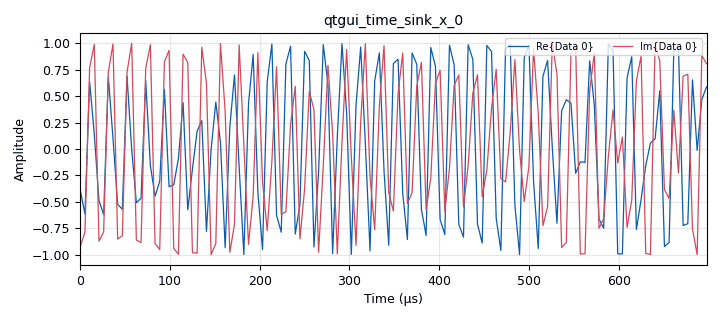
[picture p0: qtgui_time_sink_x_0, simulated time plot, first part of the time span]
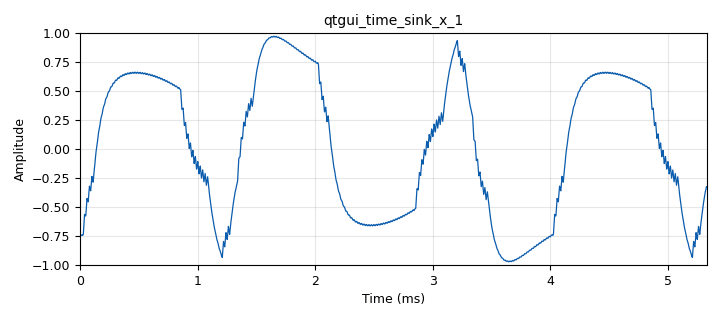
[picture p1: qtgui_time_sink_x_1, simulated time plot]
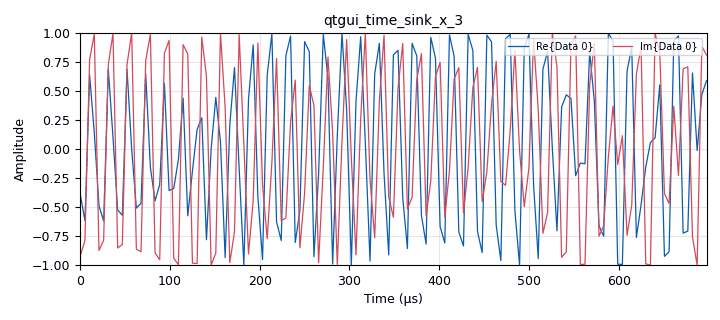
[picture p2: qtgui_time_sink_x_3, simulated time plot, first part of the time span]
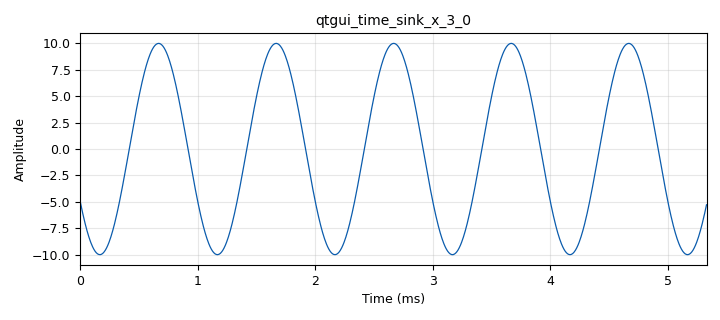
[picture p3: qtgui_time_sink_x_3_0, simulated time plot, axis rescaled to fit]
<?xml version='1.0' encoding='utf-8'?>
<?grc format='1' created='3.7.9'?>
<flow_graph>
<block>
<key>options</key>
<param><key>id</key><value>top_block</value></param>
<param><key>category</key><value>Custom</value></param>
<param><key>generate_options</key><value>qt_gui</value></param>
</block>
<block>
<key>variable</key>
<param><key>id</key><value>gain</value></param>
<param><key>value</key><value>50</value></param>
</block>
<block>
<key>variable</key>
<param><key>id</key><value>samp_rate</value></param>
<param><key>value</key><value>192000</value></param>
</block>
<block>
<key>analog_sig_source_x</key>
<param><key>id</key><value>analog_sig_source_x_1</value></param>
<param><key>amp</key><value>10</value></param>
<param><key>freq</key><value>1000</value></param>
<param><key>offset</key><value>0</value></param>
<param><key>type</key><value>float</value></param>
<param><key>samp_rate</key><value>samp_rate</value></param>
<param><key>waveform</key><value>analog.GR_COS_WAVE</value></param>
</block>
<block>
<key>analog_wfm_rcv</key>
<param><key>id</key><value>analog_wfm_rcv_0</value></param>
<param><key>audio_decimation</key><value>1</value></param>
<param><key>quad_rate</key><value>192000</value></param>
</block>
<block>
<key>analog_wfm_tx</key>
<param><key>id</key><value>analog_wfm_tx_0</value></param>
<param><key>audio_rate</key><value>48000</value></param>
<param><key>max_dev</key><value>5e3</value></param>
<param><key>quad_rate</key><value>192000</value></param>
<param><key>tau</key><value>75e-6</value></param>
</block>
<block>
<key>note</key>
<param><key>id</key><value>note_0</value></param>
<param><key>note</key><value>Wideband FM</value></param>
</block>
<block>
<key>qtgui_time_sink_x</key>
<param><key>id</key><value>qtgui_time_sink_x_0</value></param>
<param><key>autoscale</key><value>True</value></param>
<param><key>color1</key><value>"blue"</value></param>
<param><key>label1</key><value></value></param>
<param><key>color2</key><value>"red"</value></param>
<param><key>label2</key><value></value></param>
<param><key>size</key><value>1024</value></param>
<param><key>srate</key><value>samp_rate</value></param>
<param><key>type</key><value>complex</value></param>
</block>
<block>
<key>qtgui_time_sink_x</key>
<param><key>id</key><value>qtgui_time_sink_x_1</value></param>
<param><key>color1</key><value>"blue"</value></param>
<param><key>label1</key><value></value></param>
<param><key>size</key><value>1024</value></param>
<param><key>srate</key><value>samp_rate</value></param>
<param><key>type</key><value>float</value></param>
</block>
<block>
<key>qtgui_time_sink_x</key>
<param><key>id</key><value>qtgui_time_sink_x_3</value></param>
<param><key>color1</key><value>"blue"</value></param>
<param><key>label1</key><value></value></param>
<param><key>color2</key><value>"red"</value></param>
<param><key>label2</key><value></value></param>
<param><key>size</key><value>1024</value></param>
<param><key>srate</key><value>samp_rate</value></param>
<param><key>type</key><value>complex</value></param>
</block>
<block>
<key>qtgui_time_sink_x</key>
<param><key>id</key><value>qtgui_time_sink_x_3_0</value></param>
<param><key>color1</key><value>"blue"</value></param>
<param><key>label1</key><value></value></param>
<param><key>size</key><value>1024</value></param>
<param><key>srate</key><value>samp_rate</value></param>
<param><key>type</key><value>float</value></param>
</block>
<block>
<key>rational_resampler_xxx</key>
<param><key>id</key><value>rational_resampler_xxx_0_0</value></param>
<param><key>decim</key><value>1</value></param>
<param><key>interp</key><value>1</value></param>
<param><key>taps</key><value></value></param>
<param><key>type</key><value>fff</value></param>
</block>
<block>
<key>virtual_sink</key>
<param><key>id</key><value>virtual_sink_0</value></param>
<param><key>stream_id</key><value>1</value></param>
</block>
<block>
<key>virtual_source</key>
<param><key>id</key><value>virtual_source_0</value></param>
<param><key>stream_id</key><value>1</value></param>
</block>
<connection><source_block_id>analog_sig_source_x_1</source_block_id><sink_block_id>analog_wfm_tx_0</sink_block_id><source_key>0</source_key><sink_key>0</sink_key></connection>
<connection><source_block_id>analog_sig_source_x_1</source_block_id><sink_block_id>qtgui_time_sink_x_3_0</sink_block_id><source_key>0</source_key><sink_key>0</sink_key></connection>
<connection><source_block_id>analog_wfm_rcv_0</source_block_id><sink_block_id>rational_resampler_xxx_0_0</sink_block_id><source_key>0</source_key><sink_key>0</sink_key></connection>
<connection><source_block_id>analog_wfm_tx_0</source_block_id><sink_block_id>qtgui_time_sink_x_3</sink_block_id><source_key>0</source_key><sink_key>0</sink_key></connection>
<connection><source_block_id>analog_wfm_tx_0</source_block_id><sink_block_id>virtual_sink_0</sink_block_id><source_key>0</source_key><sink_key>0</sink_key></connection>
<connection><source_block_id>rational_resampler_xxx_0_0</source_block_id><sink_block_id>qtgui_time_sink_x_1</sink_block_id><source_key>0</source_key><sink_key>0</sink_key></connection>
<connection><source_block_id>virtual_source_0</source_block_id><sink_block_id>analog_wfm_rcv_0</sink_block_id><source_key>0</source_key><sink_key>0</sink_key></connection>
<connection><source_block_id>virtual_source_0</source_block_id><sink_block_id>qtgui_time_sink_x_0</sink_block_id><source_key>0</source_key><sink_key>0</sink_key></connection>
</flow_graph>
